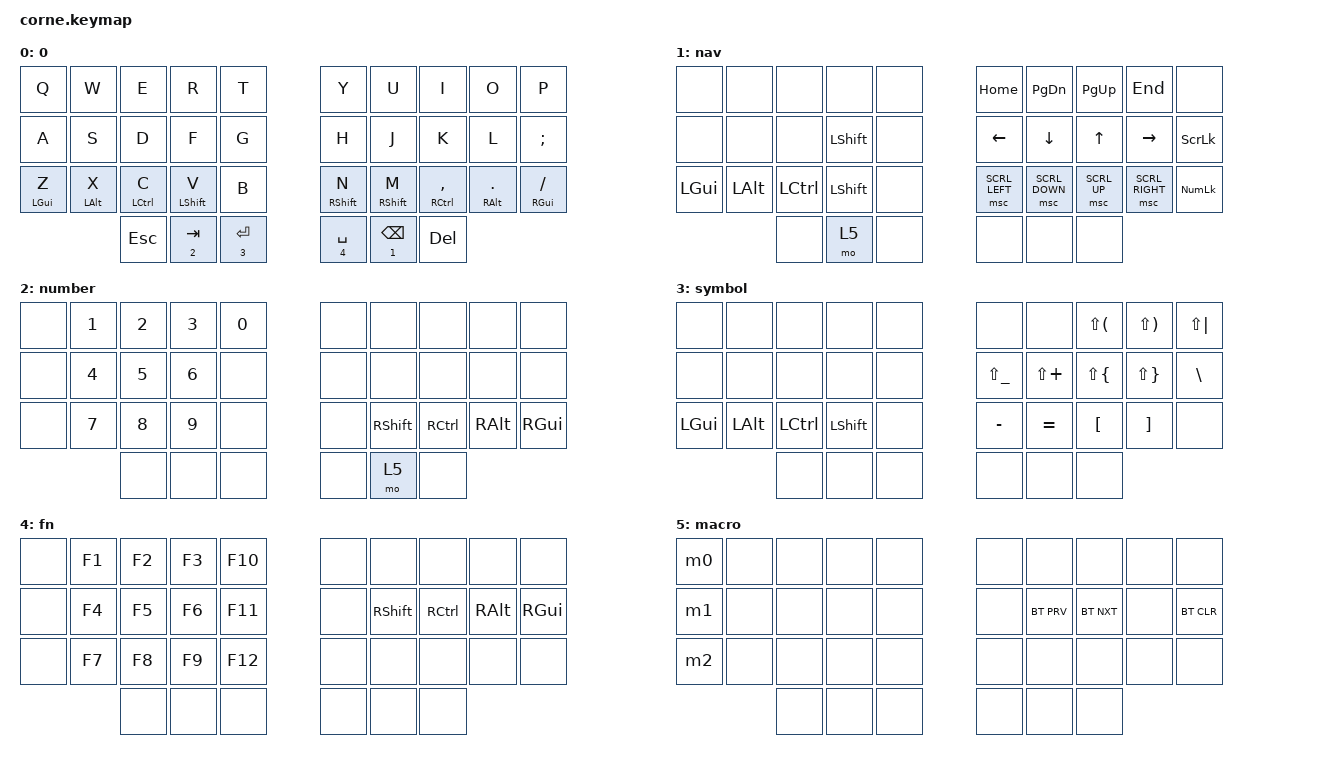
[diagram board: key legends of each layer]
/*
 * Copyright (c) 2020 The ZMK Contributors
 *
 * SPDX-License-Identifier: MIT
 */

#include <behaviors.dtsi>
#include <dt-bindings/zmk/bt.h>
#include <dt-bindings/zmk/keys.h>
#include <dt-bindings/zmk/pointing.h>

#define DEFAULT_L 0
#define SYMBOLS_L 1
#define ARROWS_L  2
#define NUMBERS_L 3

/ {
    chosen { zmk,matrix_transform = &five_column_transform; };

    behaviors {
        hm: homerow_mods {
            compatible = "zmk,behavior-hold-tap";
            label = "HOMEROW_MODS";
            #binding-cells = <2>;
            tapping-term-ms = <300>;
            quick-tap-ms = <200>;
            flavor = "balanced";
            bindings = <&kp>, <&kp>;
        };

        layertap: layertap {
            compatible = "zmk,behavior-hold-tap";
            label = "LAYERTAP";
            bindings = <&lt>, <&kp>;

            #binding-cells = <2>;
            tapping-term-ms = <300>;
            quick-tap-ms = <200>;
            flavor = "balanced";
        };
    };

    combos {
        compatible = "zmk,combos";

        grave {
            bindings = <&kp GRAVE>;
            key-positions = <27 28>;
        };

        quote {
            bindings = <&kp SQT>;
            key-positions = <26 27>;
        };
    };

    macros {
        m2: m2 {
            compatible = "zmk,behavior-macro";
            #binding-cells = <0>;
            bindings = <&none &kp B &kp E &kp R &kp O &kp X &kp MINUS &kp F &kp O &kp O &kp MINUS &kp N9 &kp N0 &kp N1 &kp N7 &kp RET>;
            label = "M2";
        };

        m0: m0 {
            compatible = "zmk,behavior-macro";
            #binding-cells = <0>;
            bindings = <&none &kp LS(P) &kp I &kp H &kp I &kp G &kp E &kp B &kp TILDE &kp N6 &kp N2>;
            label = "M0";
        };

        m1: m1 {
            compatible = "zmk,behavior-macro";
            #binding-cells = <0>;
            bindings = <&none &kp LS(W) &kp U &kp S &kp E &kp P &kp U &kp P &kp CARET &kp N7 &kp N2>;
            label = "M1";
        };
    };

    keymap {
        compatible = "zmk,keymap";

        base {
            label = "0";
            bindings = <
  &kp Q           &kp W           &kp E               &kp R             &kp T                &kp Y              &kp U                  &kp I                    &kp O              &kp P
  &kp A           &kp S           &kp D               &kp F             &kp G                &kp H              &kp J                  &kp K                    &kp L              &kp SEMI
  &hm LEFT_GUI Z  &hm LEFT_ALT X  &hm LEFT_CONTROL C  &hm LEFT_SHIFT V  &kp B                &hm RIGHT_SHIFT N  &hm RIGHT_SHIFT M      &hm RIGHT_CONTROL COMMA  &hm RIGHT_ALT DOT  &hm RIGHT_GUI FSLH
                                  &kp ESC             &layertap 2 TAB   &layertap 3 ENTER    &layertap 4 SPACE  &layertap 1 BACKSPACE  &kp DEL
            >;
        };

        nav {
            bindings = <
  &none     &none     &none      &none      &none    &kp HOME        &kp PAGE_DOWN   &kp PAGE_UP   &kp END          &none
  &none     &none     &none      &kp LSHFT  &none    &kp LEFT        &kp DOWN        &kp UP        &kp RIGHT        &kp SCROLLLOCK
  &kp LGUI  &kp LALT  &kp LCTRL  &kp LSHFT  &none    &msc SCRL_LEFT  &msc SCRL_DOWN  &msc SCRL_UP  &msc SCRL_RIGHT  &kp KP_NUMLOCK
                      &none      &mo 5      &none    &none           &none           &none
            >;
        };

        number {
            bindings = <
  &none  &kp N1  &kp N2  &kp N3  &kp N0    &none  &none      &none      &none     &none
  &none  &kp N4  &kp N5  &kp N6  &none     &none  &none      &none      &none     &none
  &none  &kp N7  &kp N8  &kp N9  &none     &none  &kp RSHFT  &kp RCTRL  &kp RALT  &kp RGUI
                 &none   &none   &none     &none  &mo 5      &none
            >;
        };

        symbol {
            bindings = <
  &none     &none     &none      &none      &none    &none          &none         &kp LS(LPAR)  &kp LS(RPAR)  &kp LS(PIPE)
  &none     &none     &none      &none      &none    &kp LS(UNDER)  &kp LS(PLUS)  &kp LS(LBRC)  &kp LS(RBRC)  &kp BSLH
  &kp LGUI  &kp LALT  &kp LCTRL  &kp LSHFT  &none    &kp MINUS      &kp EQUAL     &kp LBKT      &kp RBKT      &none
                      &none      &none      &none    &none          &none         &none
            >;
        };

        fn {
            bindings = <
  &none  &kp F1  &kp F2  &kp F3  &kp F10    &none  &none      &none      &none     &none
  &none  &kp F4  &kp F5  &kp F6  &kp F11    &none  &kp RSHFT  &kp RCTRL  &kp RALT  &kp RGUI
  &none  &kp F7  &kp F8  &kp F9  &kp F12    &none  &none      &none      &none     &none
                 &none   &none   &none      &none  &none      &none
            >;
        };

        macro {
            bindings = <
  &m0  &none  &none  &none  &none    &none  &none       &none       &none  &none
  &m1  &none  &none  &none  &none    &none  &bt BT_PRV  &bt BT_NXT  &none  &bt BT_CLR
  &m2  &none  &none  &none  &none    &none  &none       &none       &none  &none
              &none  &none  &none    &none  &none       &none
            >;
        };
    };

    conditional_layers { compatible = "zmk,conditional-layers"; };
};
